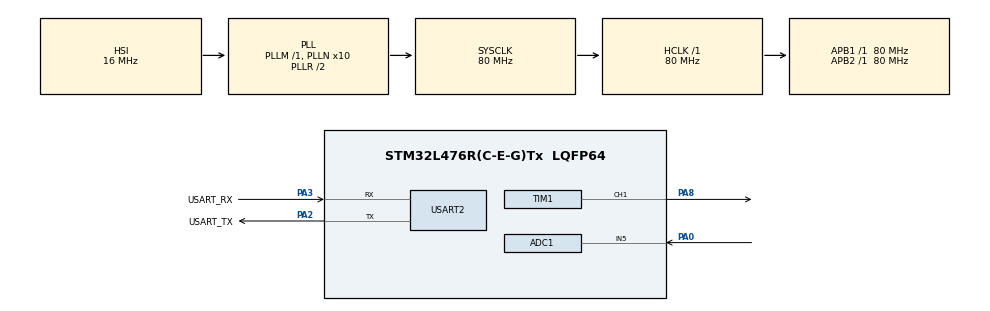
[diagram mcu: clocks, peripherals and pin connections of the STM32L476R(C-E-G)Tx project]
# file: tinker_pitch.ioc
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Mcu.Family=STM32L4
NVIC.ADC1_2_IRQn=true\:5\:0\:false\:false\:true\:true\:true\:true
PA2.GPIO_PuPd=GPIO_NOPULL
VP_SYS_VS_tim6.Mode=TIM6
RCC.CortexFreq_Value=80000000
ADC1.ContinuousConvMode=DISABLE
NVIC.TIM6_DAC_IRQn=true\:0\:0\:false\:false\:true\:false\:false\:true
PH0-OSC_IN\ (PH0).Signal=RCC_OSC_IN
PA3.GPIO_PuPd=GPIO_NOPULL
PA2.GPIO_Speed=GPIO_SPEED_FREQ_VERY_HIGH
PC15-OSC32_OUT\ (PC15).Mode=LSE-External-Oscillator
PA3.GPIO_Speed=GPIO_SPEED_FREQ_VERY_HIGH
RCC.SYSCLKSource=RCC_SYSCLKSOURCE_PLLCLK
ProjectManager.StackSize=0x400
PB3\ (JTDO-TRACESWO).Signal=SYS_JTDO-SWO
VP_FREERTOS_VS_CMSIS_V2.Mode=CMSIS_V2
PC14-OSC32_IN\ (PC14).Mode=LSE-External-Oscillator
PA14\ (JTCK-SWCLK).Signal=SYS_JTCK-SWCLK
TIM1.Prescaler=10 - 1
RCC.HCLKFreq_Value=80000000
RCC.APB2TimFreq_Value=80000000
RCC.AHBFreq_Value=80000000
RCC.PREFETCH_ENABLE=1
RCC.HSE_VALUE=8000000
USART2.VirtualMode-Asynchronous=VM_ASYNC
TIM1.Channel-PWM\ Generation1\ CH1=TIM_CHANNEL_1
PA8.Signal=S_TIM1_CH1
PA0.Signal=ADCx_IN5
Mcu.Package=LQFP64
NVIC.TimeBase=TIM6_DAC_IRQn
ADC1.OversamplingMode=DISABLE
PA2.GPIO_Label=USART_TX
NVIC.TimeBaseIP=TIM6
ADC1.OffsetNumber-1\#ChannelRegularConversion=ADC_OFFSET_NONE
RCC.APB1TimFreq_Value=80000000
TIM1.Period=40817
PA13\ (JTMS-SWDIO).Signal=SYS_JTMS-SWDIO
PA3.Signal=USART2_RX
PA2.GPIO_Mode=GPIO_MODE_AF_PP
RCC.MSI_VALUE=4000000
RCC.PLLSourceVirtual=RCC_PLLSOURCE_HSI
PA14\ (JTCK-SWCLK).Mode=Serial_Wire
FREERTOS.Tasks01=defaultTask,8,128,StartDefaultTask,Default,NULL,Dynamic,NULL,NULL;tickCaptureTask,17,128,StartTickCaptureTask,Default,NULL,Dynamic,NULL,NULL;stateTask,16,256,StartStateTask,Default,NULL,Dynamic,NULL,NULL
PC15-OSC32_OUT\ (PC15).Signal=RCC_OSC32_OUT
PA14\ (JTCK-SWCLK).GPIO_Label=TCK
PB3\ (JTDO-TRACESWO).GPIO_Label=SWO
PH1-OSC_OUT\ (PH1).Signal=RCC_OSC_OUT
PA3.Mode=Asynchronous
TIM1.AutoReloadPreload=TIM_AUTORELOAD_PRELOAD_ENABLE
SH.S_TIM1_CH1.0=TIM1_CH1,PWM Generation1 CH1
ProjectManager.TargetToolchain=STM32CubeIDE
PA3.GPIO_Mode=GPIO_MODE_AF_PP
ADC1.Channel-1\#ChannelRegularConversion=ADC_CHANNEL_5
RCC.USBFreq_Value=64000000
board=NUCLEO-L476RG
RCC.VCOOutputFreq_Value=160000000
RCC.APB2Freq_Value=80000000
PA13\ (JTMS-SWDIO).GPIO_Label=TMS
RCC.ADCFreq_Value=64000000
ADC1.NbrOfConversion=1
Mcu.Name=STM32L476R(C-E-G)Tx
PA2.Signal=USART2_TX
PA13\ (JTMS-SWDIO).Mode=Serial_Wire
ADC1.SamplingTime-1\#ChannelRegularConversion=ADC_SAMPLETIME_640CYCLES_5
RCC.SYSCLKFreq_VALUE=80000000
ADC1.master=1
PC14-OSC32_IN\ (PC14).Signal=RCC_OSC32_IN
ADC1.Rank-1\#ChannelRegularConversion=1
ProjectManager.HeapSize=0x200
RCC.HSI_VALUE=16000000
SH.ADCx_IN5.0=ADC1_IN5,IN5-Single-Ended
NVIC.PriorityGroup=NVIC_PRIORITYGROUP_4
ADC1.NbrOfConversionFlag=1
RCC.PLLN=10
PA2.Mode=Asynchronous
RCC.APB1Freq_Value=80000000
PA3.GPIO_Label=USART_RX

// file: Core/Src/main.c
/* USER CODE BEGIN Header */
/**
  ******************************************************************************
  * @file           : main.c
  * @brief          : Main program body
  ******************************************************************************
  * @attention
  *
  * <h2><center>&copy; Copyright (c) 2021 STMicroelectronics.
  * All rights reserved.</center></h2>
  *
  * This software component is licensed by ST under BSD 3-Clause license,
  * the "License"; You may not use this file except in compliance with the
  * License. You may obtain a copy of the License at:
  *                        opensource.org/licenses/BSD-3-Clause
  *
  ******************************************************************************
  */
/* USER CODE END Header */
#include "main.h"
#include "cmsis_os.h"

/* USER CODE BEGIN Includes */
#include <stdio.h>
/* USER CODE END Includes */

/* USER CODE BEGIN PD */
#ifdef __GNUC__
#define PUTCHAR_PROTOTYPE int __io_putchar(int ch)
#else
#define PUTCHAR_PROTOTYPE int fputc(int ch, FILE *f)
#endif /* __GNUC__ */
/* USER CODE END PD */

ADC_HandleTypeDef hadc1;

TIM_HandleTypeDef htim1;

UART_HandleTypeDef huart2;

/* Definitions for defaultTask */
osThreadId_t defaultTaskHandle;
const osThreadAttr_t defaultTask_attributes = {
  .name = "defaultTask",
  .stack_size = 128 * 4,
  .priority = (osPriority_t) osPriorityLow,
};
/* Definitions for tickCaptureTask */
osThreadId_t tickCaptureTaskHandle;
const osThreadAttr_t tickCaptureTask_attributes = {
  .name = "tickCaptureTask",
  .stack_size = 128 * 4,
  .priority = (osPriority_t) osPriorityBelowNormal1,
};
/* Definitions for stateTask */
osThreadId_t stateTaskHandle;
const osThreadAttr_t stateTask_attributes = {
  .name = "stateTask",
  .stack_size = 256 * 4,
  .priority = (osPriority_t) osPriorityBelowNormal,
};

void SystemClock_Config(void);
static void MX_GPIO_Init(void);
static void MX_USART2_UART_Init(void);
static void MX_TIM1_Init(void);
static void MX_ADC1_Init(void);
void StartDefaultTask(void *argument);
void StartTickCaptureTask(void *argument);
void StartStateTask(void *argument);

/* USER CODE BEGIN 0 */
PUTCHAR_PROTOTYPE
{
	HAL_UART_Transmit(&huart2, (uint8_t *)&ch, 1, pdMS_TO_TICKS(100));
	return ch;
}

volatile uint16_t uRawADC = 0;

void HAL_ADC_ConvCpltCallback(ADC_HandleTypeDef *hadc)
{
	//if (hadc == &hadc1)
	//{

		uRawADC = HAL_ADC_GetValue(hadc);

  	uint16_t period = uRawADC * 15;
  	period = period > 1000 ? period : 1000;
  	period = period < 60000 ? period : 60000;
		TIM1->ARR = (period);
		htim1.Instance->CCR1 = TIM1->ARR/2;

	//HAL_ADC_Start_IT(hadc); // If continous conversion disabled
	//}
}

#define MAX_CAPTURE_CHECK 50U

#if MAX_CAPTURE_CHECK >= 255U
#error "Max capture check should not be greater or equal to 0xFFFF"
#endif

uint16_t captureTickPitch[MAX_CAPTURE_CHECK] = {0};
uint8_t numCaptureCheck = 0;

/* USER CODE END 0 */

int main(void)
{

  /* MCU Configuration--------------------------------------------------------*/

  /* Reset of all peripherals, Initializes the Flash interface and the Systick. */
  HAL_Init();

  /* Configure the system clock */
  SystemClock_Config();

  /* Initialize all configured peripherals */
  MX_GPIO_Init();
  MX_USART2_UART_Init();
  MX_TIM1_Init();
  MX_ADC1_Init();
  /* USER CODE BEGIN 2 */
  HAL_TIM_PWM_Start(&htim1, TIM_CHANNEL_1);

  /* USER CODE END 2 */

  /* Init scheduler */
  osKernelInitialize();

  /* Create the thread(s) */
  /* creation of defaultTask */
  defaultTaskHandle = osThreadNew(StartDefaultTask, NULL, &defaultTask_attributes);

  /* creation of tickCaptureTask */
  tickCaptureTaskHandle = osThreadNew(StartTickCaptureTask, NULL, &tickCaptureTask_attributes);

  /* creation of stateTask */
  stateTaskHandle = osThreadNew(StartStateTask, NULL, &stateTask_attributes);

  /* Start scheduler */
  osKernelStart();

  /* We should never get here as control is now taken by the scheduler */
  /* Infinite loop */
  while (1)
  {

  }
}

void SystemClock_Config(void)
{
  RCC_OscInitTypeDef RCC_OscInitStruct = {0};
  RCC_ClkInitTypeDef RCC_ClkInitStruct = {0};
  RCC_PeriphCLKInitTypeDef PeriphClkInit = {0};

  /** Initializes the RCC Oscillators according to the specified parameters
  * in the RCC_OscInitTypeDef structure.
  */
  RCC_OscInitStruct.OscillatorType = RCC_OSCILLATORTYPE_HSI;
  RCC_OscInitStruct.HSIState = RCC_HSI_ON;
  RCC_OscInitStruct.HSICalibrationValue = RCC_HSICALIBRATION_DEFAULT;
  RCC_OscInitStruct.PLL.PLLState = RCC_PLL_ON;
  RCC_OscInitStruct.PLL.PLLSource = RCC_PLLSOURCE_HSI;
  RCC_OscInitStruct.PLL.PLLM = 1;
  RCC_OscInitStruct.PLL.PLLN = 10;
  RCC_OscInitStruct.PLL.PLLP = RCC_PLLP_DIV7;
  RCC_OscInitStruct.PLL.PLLQ = RCC_PLLQ_DIV2;
  RCC_OscInitStruct.PLL.PLLR = RCC_PLLR_DIV2;
  if (HAL_RCC_OscConfig(&RCC_OscInitStruct) != HAL_OK)
  {
    Error_Handler();
  }
  /** Initializes the CPU, AHB and APB buses clocks
  */
  RCC_ClkInitStruct.ClockType = RCC_CLOCKTYPE_HCLK|RCC_CLOCKTYPE_SYSCLK
                              |RCC_CLOCKTYPE_PCLK1|RCC_CLOCKTYPE_PCLK2;
  RCC_ClkInitStruct.SYSCLKSource = RCC_SYSCLKSOURCE_PLLCLK;
  RCC_ClkInitStruct.AHBCLKDivider = RCC_SYSCLK_DIV1;
  RCC_ClkInitStruct.APB1CLKDivider = RCC_HCLK_DIV1;
  RCC_ClkInitStruct.APB2CLKDivider = RCC_HCLK_DIV1;

  if (HAL_RCC_ClockConfig(&RCC_ClkInitStruct, FLASH_LATENCY_4) != HAL_OK)
  {
    Error_Handler();
  }
  PeriphClkInit.PeriphClockSelection = RCC_PERIPHCLK_USART2|RCC_PERIPHCLK_ADC;
  PeriphClkInit.Usart2ClockSelection = RCC_USART2CLKSOURCE_PCLK1;
  PeriphClkInit.AdcClockSelection = RCC_ADCCLKSOURCE_PLLSAI1;
  PeriphClkInit.PLLSAI1.PLLSAI1Source = RCC_PLLSOURCE_HSI;
  PeriphClkInit.PLLSAI1.PLLSAI1M = 1;
  PeriphClkInit.PLLSAI1.PLLSAI1N = 8;
  PeriphClkInit.PLLSAI1.PLLSAI1P = RCC_PLLP_DIV7;
  PeriphClkInit.PLLSAI1.PLLSAI1Q = RCC_PLLQ_DIV2;
  PeriphClkInit.PLLSAI1.PLLSAI1R = RCC_PLLR_DIV2;
  PeriphClkInit.PLLSAI1.PLLSAI1ClockOut = RCC_PLLSAI1_ADC1CLK;
  if (HAL_RCCEx_PeriphCLKConfig(&PeriphClkInit) != HAL_OK)
  {
    Error_Handler();
  }
  /** Configure the main internal regulator output voltage
  */
  if (HAL_PWREx_ControlVoltageScaling(PWR_REGULATOR_VOLTAGE_SCALE1) != HAL_OK)
  {
    Error_Handler();
  }
}

static void MX_ADC1_Init(void)
{

  ADC_MultiModeTypeDef multimode = {0};
  ADC_ChannelConfTypeDef sConfig = {0};

  /** Common config
  */
  hadc1.Instance = ADC1;
  hadc1.Init.ClockPrescaler = ADC_CLOCK_ASYNC_DIV1;
  hadc1.Init.Resolution = ADC_RESOLUTION_12B;
  hadc1.Init.DataAlign = ADC_DATAALIGN_RIGHT;
  hadc1.Init.ScanConvMode = ADC_SCAN_DISABLE;
  hadc1.Init.EOCSelection = ADC_EOC_SINGLE_CONV;
  hadc1.Init.LowPowerAutoWait = DISABLE;
  hadc1.Init.ContinuousConvMode = DISABLE;
  hadc1.Init.NbrOfConversion = 1;
  hadc1.Init.DiscontinuousConvMode = DISABLE;
  hadc1.Init.ExternalTrigConv = ADC_SOFTWARE_START;
  hadc1.Init.ExternalTrigConvEdge = ADC_EXTERNALTRIGCONVEDGE_NONE;
  hadc1.Init.DMAContinuousRequests = DISABLE;
  hadc1.Init.Overrun = ADC_OVR_DATA_PRESERVED;
  hadc1.Init.OversamplingMode = DISABLE;
  if (HAL_ADC_Init(&hadc1) != HAL_OK)
  {
    Error_Handler();
  }
  /** Configure the ADC multi-mode
  */
  multimode.Mode = ADC_MODE_INDEPENDENT;
  if (HAL_ADCEx_MultiModeConfigChannel(&hadc1, &multimode) != HAL_OK)
  {
    Error_Handler();
  }
  /** Configure Regular Channel
  */
  sConfig.Channel = ADC_CHANNEL_5;
  sConfig.Rank = ADC_REGULAR_RANK_1;
  sConfig.SamplingTime = ADC_SAMPLETIME_640CYCLES_5;
  sConfig.SingleDiff = ADC_SINGLE_ENDED;
  sConfig.OffsetNumber = ADC_OFFSET_NONE;
  sConfig.Offset = 0;
  if (HAL_ADC_ConfigChannel(&hadc1, &sConfig) != HAL_OK)
  {
    Error_Handler();
  }

}

static void MX_TIM1_Init(void)
{

  TIM_MasterConfigTypeDef sMasterConfig = {0};
  TIM_OC_InitTypeDef sConfigOC = {0};
  TIM_BreakDeadTimeConfigTypeDef sBreakDeadTimeConfig = {0};

  htim1.Instance = TIM1;
  htim1.Init.Prescaler = 10 - 1;
  htim1.Init.CounterMode = TIM_COUNTERMODE_UP;
  htim1.Init.Period = 40817;
  htim1.Init.ClockDivision = TIM_CLOCKDIVISION_DIV1;
  htim1.Init.RepetitionCounter = 0;
  htim1.Init.AutoReloadPreload = TIM_AUTORELOAD_PRELOAD_ENABLE;
  if (HAL_TIM_PWM_Init(&htim1) != HAL_OK)
  {
    Error_Handler();
  }
  sMasterConfig.MasterOutputTrigger = TIM_TRGO_RESET;
  sMasterConfig.MasterOutputTrigger2 = TIM_TRGO2_RESET;
  sMasterConfig.MasterSlaveMode = TIM_MASTERSLAVEMODE_DISABLE;
  if (HAL_TIMEx_MasterConfigSynchronization(&htim1, &sMasterConfig) != HAL_OK)
  {
    Error_Handler();
  }
  sConfigOC.OCMode = TIM_OCMODE_PWM1;
  sConfigOC.Pulse = 0;
  sConfigOC.OCPolarity = TIM_OCPOLARITY_HIGH;
  sConfigOC.OCNPolarity = TIM_OCNPOLARITY_HIGH;
  sConfigOC.OCFastMode = TIM_OCFAST_DISABLE;
  sConfigOC.OCIdleState = TIM_OCIDLESTATE_RESET;
  sConfigOC.OCNIdleState = TIM_OCNIDLESTATE_RESET;
  if (HAL_TIM_PWM_ConfigChannel(&htim1, &sConfigOC, TIM_CHANNEL_1) != HAL_OK)
  {
    Error_Handler();
  }
  sBreakDeadTimeConfig.OffStateRunMode = TIM_OSSR_DISABLE;
  sBreakDeadTimeConfig.OffStateIDLEMode = TIM_OSSI_DISABLE;
  sBreakDeadTimeConfig.LockLevel = TIM_LOCKLEVEL_OFF;
  sBreakDeadTimeConfig.DeadTime = 0;
  sBreakDeadTimeConfig.BreakState = TIM_BREAK_DISABLE;
  sBreakDeadTimeConfig.BreakPolarity = TIM_BREAKPOLARITY_HIGH;
  sBreakDeadTimeConfig.BreakFilter = 0;
  sBreakDeadTimeConfig.Break2State = TIM_BREAK2_DISABLE;
  sBreakDeadTimeConfig.Break2Polarity = TIM_BREAK2POLARITY_HIGH;
  sBreakDeadTimeConfig.Break2Filter = 0;
  sBreakDeadTimeConfig.AutomaticOutput = TIM_AUTOMATICOUTPUT_DISABLE;
  if (HAL_TIMEx_ConfigBreakDeadTime(&htim1, &sBreakDeadTimeConfig) != HAL_OK)
  {
    Error_Handler();
  }
  HAL_TIM_MspPostInit(&htim1);

}

static void MX_USART2_UART_Init(void)
{

  huart2.Instance = USART2;
  huart2.Init.BaudRate = 115200;
  huart2.Init.WordLength = UART_WORDLENGTH_8B;
  huart2.Init.StopBits = UART_STOPBITS_1;
  huart2.Init.Parity = UART_PARITY_NONE;
  huart2.Init.Mode = UART_MODE_TX_RX;
  huart2.Init.HwFlowCtl = UART_HWCONTROL_NONE;
  huart2.Init.OverSampling = UART_OVERSAMPLING_16;
  huart2.Init.OneBitSampling = UART_ONE_BIT_SAMPLE_DISABLE;
  huart2.AdvancedInit.AdvFeatureInit = UART_ADVFEATURE_NO_INIT;
  if (HAL_UART_Init(&huart2) != HAL_OK)
  {
    Error_Handler();
  }

}

static void MX_GPIO_Init(void)
{

  /* GPIO Ports Clock Enable */
  __HAL_RCC_GPIOC_CLK_ENABLE();
  __HAL_RCC_GPIOH_CLK_ENABLE();
  __HAL_RCC_GPIOA_CLK_ENABLE();
  __HAL_RCC_GPIOB_CLK_ENABLE();

}

void StartDefaultTask(void *argument)
{
  /* USER CODE BEGIN 5 */
	uint16_t uData = 0;
	htim1.Instance->CCR1 = TIM1->ARR/2;

  /* Infinite loop */
  for(;;)
  {
    HAL_ADC_Start_IT(&hadc1);

  	//printf("Hello, world!\r\n");

  	/*
  	HAL_ADC_Start(&hadc1);
  	HAL_ADC_PollForConversion(&hadc1, pdMS_TO_TICKS(1000));
  	uData = HAL_ADC_GetValue(&hadc1);
		*/

  	//printf("STOP\r\n");
  	//printf("ADC: %u\r\n", uRawADC);

  	/*
  	uint16_t period = uData * 10;
  	period = period > 1000 ? period : 1000;
  	period = period < 60000 ? period : 60000;
		TIM1->ARR = (period);
		htim1.Instance->CCR1 = TIM1->ARR/2;
		*/

    osDelay(1);
  }
  /* USER CODE END 5 */
}

void StartTickCaptureTask(void *argument)
{
  /* USER CODE BEGIN StartTickCaptureTask */
	static const TickType_t xFrequency = pdMS_TO_TICKS(50);
	TickType_t xLastWakeTime = xTaskGetTickCount();
  /* Infinite loop */
  for(;;)
  {
  	if (numCaptureCheck < MAX_CAPTURE_CHECK)
  	{
  		uint16_t captureRawADC = uRawADC;
  		captureTickPitch[numCaptureCheck] = captureRawADC;
    	numCaptureCheck++;
  	}
  	printf("Capture Tick: %u\r\n", numCaptureCheck);

    vTaskDelayUntil(&xLastWakeTime, xFrequency);
  }
  /* USER CODE END StartTickCaptureTask */
}

void StartStateTask(void *argument)
{
  /* USER CODE BEGIN StartStateTask */
	static TickType_t xFrequency = pdMS_TO_TICKS(500);
	TickType_t xLastWakeTime = xTaskGetTickCount();
  /* Infinite loop */
  for(;;)
  {
  	float fAveragePitch = 0.0;
  	printf("Checked: %u\r\n", numCaptureCheck);

  	for (uint8_t i = 0; i < numCaptureCheck; i++)
  	{
  		fAveragePitch += ((float)captureTickPitch[i])/(numCaptureCheck);
  	}
  	numCaptureCheck = 0;
  	printf("State: %f\r\n", fAveragePitch);

    vTaskDelayUntil(&xLastWakeTime, xFrequency);
  }
  /* USER CODE END StartStateTask */
}

 /**
  * @brief  Period elapsed callback in non blocking mode
  * @note   This function is called  when TIM6 interrupt took place, inside
  * HAL_TIM_IRQHandler(). It makes a direct call to HAL_IncTick() to increment
  * a global variable "uwTick" used as application time base.
  * @param  htim : TIM handle
  * @retval None
  */
void HAL_TIM_PeriodElapsedCallback(TIM_HandleTypeDef *htim)
{
  if (htim->Instance == TIM6) {
    HAL_IncTick();
  }
}

void Error_Handler(void)
{
  __disable_irq();
  while (1)
  {
  }
}

/************************ (C) COPYRIGHT STMicroelectronics *****END OF FILE****/
